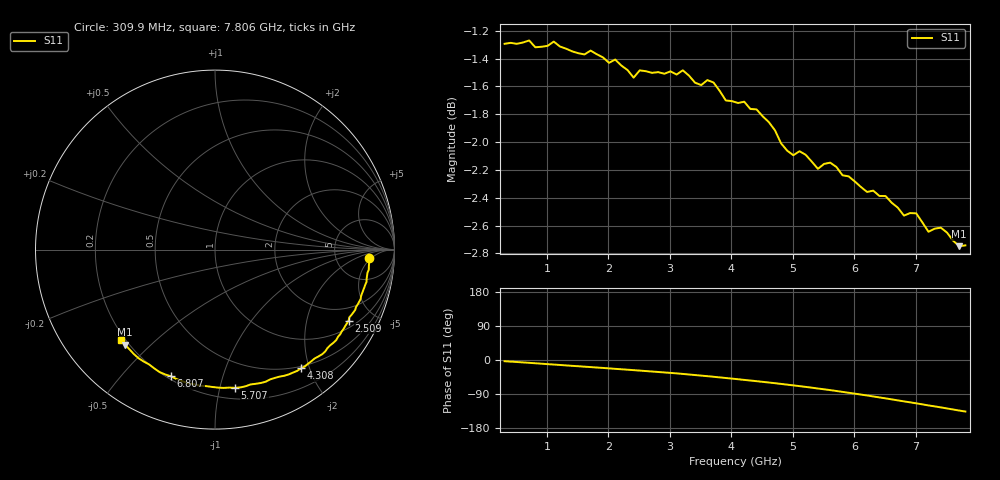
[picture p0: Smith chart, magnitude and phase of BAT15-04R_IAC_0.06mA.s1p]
! Infineon Technologies  Discrete & RF Semiconductors
! BAT15-04R
! IAC = 0.06 mA
! One-Port S-Parameters
# Hz  S  MA  R  50
!f  S11
!Hz  Mag  Ang
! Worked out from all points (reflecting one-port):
!   76 points, 309.9 MHz to 7.806 GHz, reference 50 ohm
!   lowest |S11| = -2.7 dB at 7.706 GHz (marker M1), VSWR 6.37, Z = 9.26 - j20.9 ohm
!   phase of S11 starts at -3 deg and turns -133 deg over the sweep
!   S11 on the Smith chart (normalised r, x): 309.9 MHz: 12, -4; 2.509 GHz: 1.31, -3.57; 4.308 GHz: 0.47, -1.87; 5.707 GHz: 0.29, -1.11; 6.807 GHz: 0.22, -0.69; 7.806 GHz: 0.18, -0.39
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3.0985e8  0.8617 -3.2
7.0965e8  0.864 -7.5
8.096e8  0.8592 -8.6
1.10945e9  0.8632 -12.0
1.30935e9  0.8582 -14.3
1.70915e9  0.8568 -18.7
2.2089e9  0.8463 -24.5
2.4088e9  0.8379 -26.8
2.50875e9  0.8429 -28.0
3.2084e9  0.843 -36.7
3.70815e9  0.8345 -44.3
4.10795e9  0.8205 -50.8
4.30785e9  0.8164 -54.1
4.6077e9  0.8076 -59.4
5.0075e9  0.7858 -67.0
5.2074e9  0.7861 -70.9
5.4073e9  0.777 -75.3
5.70715e9  0.7782 -81.8
6.007e9  0.7689 -88.8
6.30685e9  0.7631 -96.1
6.50675e9  0.7597 -101.2
6.8066e9  0.7475 -109.2
6.90655e9  0.749 -111.7
7.0065e9  0.7489 -114.4
7.2064e9  0.7375 -119.9
7.4063e9  0.74 -125.1
7.70615e9  0.7288 -133.4
7.8061e9  0.7293 -136.0
